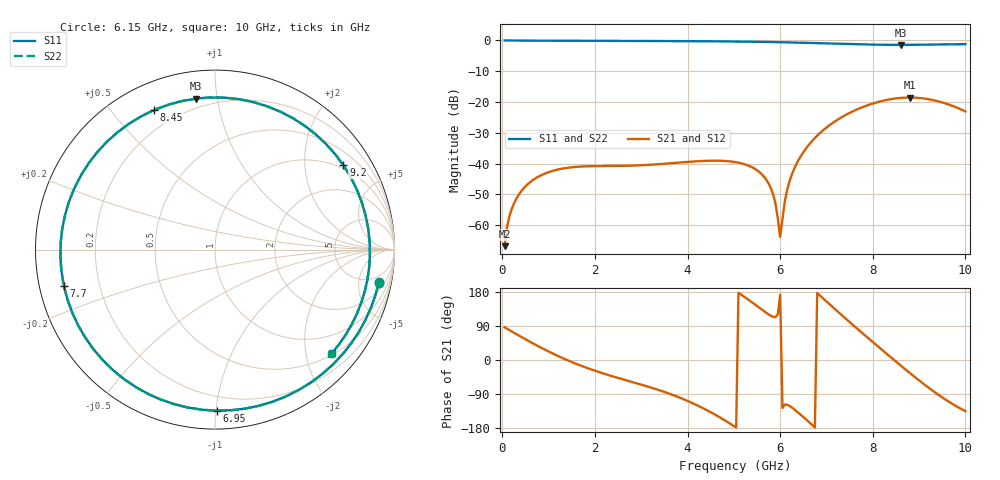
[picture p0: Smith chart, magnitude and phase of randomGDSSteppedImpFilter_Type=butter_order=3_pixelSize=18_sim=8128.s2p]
! freq	dB(S11)	phase(S11)	dB(S12)	phase(S12)
!  dB(S21)	phase(S21)	dB(S22)	phase(S22)
!S-par simulation data
#  GHz  S  DB  R 50
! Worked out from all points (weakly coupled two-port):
!   200 points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, 50 MHz to 10 GHz, reference 50 ohm
!   highest |S21| = -18.56 dB at 8.8 GHz (marker M1); lowest = -66.9 dB at 50 MHz (marker M2)
!   lowest |S11| = -1.4 dB at 8.6 GHz (marker M3), VSWR 12.14, Z = 7.26 + j43.4 ohm
!   |S11| at or under -10 dB: nowhere
!   |S22| runs from -1.4 to 0.0 dB; largest |S21 - S12| = 0
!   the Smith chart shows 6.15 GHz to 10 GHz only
!   S11 on the Smith chart (normalised r, x): 6.15 GHz: 3.40, -9.10; 6.95 GHz: 0.11, -1.01; 7.7 GHz: 0.07, -0.12; 8.45 GHz: 0.12, +0.65; 9.2 GHz: 0.89, +3.12; 10 GHz: 0.54, -2.55
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0.05  -0.00 -3.6  -66.87 86.4  -66.87 86.4  -0.00 -3.6
0.2  -0.02 -14.4  -54.93 75.6  -54.93 75.6  -0.02 -14.4
0.5  -0.05 -35.4  -47.43 54.7  -47.43 54.7  -0.05 -35.5
1.1  -0.09 -75.0  -42.33 16.5  -42.33 16.5  -0.09 -75.0
1.75  -0.12 -112.8  -40.94 -17.4  -40.94 -17.4  -0.12 -112.8
2.6  -0.15 -155.9  -40.75 -50.9  -40.75 -50.9  -0.15 -156.0
3.4  -0.19 166.2  -40.20 -80.1  -40.20 -80.1  -0.19 166.1
4.35  -0.26 118.2  -39.16 -128.1  -39.16 -128.1  -0.26 118.0
5.05  -0.35 76.0  -39.58 -178.4  -39.58 -178.4  -0.35 75.7
5.75  -0.50 23.9  -46.48 120.5  -46.48 120.5  -0.50 23.5
5.9  -0.54 11.2  -53.12 113.2  -53.12 113.2  -0.54 10.7
6  -0.57 2.5  -63.83 172.2  -63.83 172.2  -0.57 2.0
6.15  -0.62 -11.0  -48.65 -118.0  -48.65 -118.0  -0.62 -11.6
6.7  -0.83 -64.0  -32.51 -172.3  -32.51 -172.3  -0.83 -64.7
6.95  -0.94 -89.2  -28.92 160.0  -28.92 160.0  -0.94 -89.9
7.7  -1.25 -166.4  -22.16 78.8  -22.16 78.8  -1.25 -167.2
8.35  -1.42 124.5  -19.19 11.3  -19.19 11.3  -1.42 123.8
8.45  -1.43 113.7  -18.94 1.0  -18.94 1.0  -1.43 113.0
8.6  -1.43 97.4  -18.68 -14.3  -18.68 -14.3  -1.43 96.7
8.8  -1.42 75.7  -18.56 -34.3  -18.56 -34.3  -1.42 75.0
9.2  -1.35 33.2  -19.10 -72.6  -19.10 -72.6  -1.35 32.7
10  -1.21 -41.4  -23.07 -134.8  -23.07 -134.8  -1.21 -41.8
